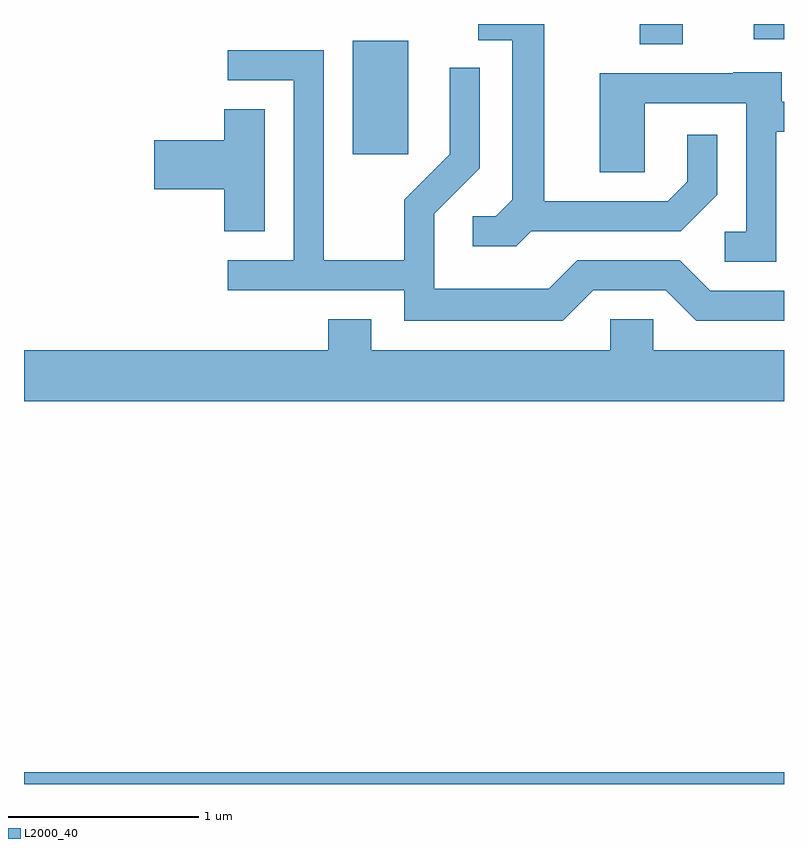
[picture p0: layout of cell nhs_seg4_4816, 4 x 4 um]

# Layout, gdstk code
import gdstk
lib = gdstk.Library(unit=1e-6, precision=1e-09)
def R(c, l, rs):  # rectangles x0, y0, x1, y1
    for r in rs: c.add(gdstk.rectangle(r[:2], r[2:], *l))
def P(c, l, *ps):  # polygons
    for p in ps: c.add(gdstk.Polygon(p, *l))
L2000_40 = (2000, 40)

nhs_seg4_4816 = lib.new_cell('nhs_seg4_4816')
R(nhs_seg4_4816, L2000_40, [(325.611,1365.982,329.611,1366.044), (327.341,1369.296,327.634,1369.894), (328.851,1369.876,329.079,1369.982), (329.453,1369.901,329.611,1369.982)])
P(nhs_seg4_4816, L2000_40, [(328.282,1368.891),(329.067,1368.891),(329.259,1369.084),(329.259,1369.398),(329.101,1369.398),(329.101,1369.152),(328.999,1369.049),(328.349,1369.049),(328.349,1369.982),(328.003,1369.982),(328.003,1369.896),(328.181,1369.896),(328.181,1369.057),(328.094,1368.969),(327.973,1368.969),(327.973,1368.811),(328.202,1368.811)],
  [(328.607,1368.581),(328.989,1368.581),(329.149,1368.421),(329.611,1368.421),(329.611,1368.579),(329.222,1368.579),(329.062,1368.739),(328.524,1368.739),(328.374,1368.589),(327.769,1368.589),(327.769,1368.984),(328.009,1369.224),(328.009,1369.753),(327.851,1369.753),(327.851,1369.297),(327.611,1369.057),(327.611,1368.739),(327.189,1368.739),(327.189,1369.844),(326.683,1369.844),(326.683,1369.686),(327.031,1369.686),(327.031,1368.739),(326.683,1368.739),(326.683,1368.581),(327.611,1368.581),(327.611,1368.421),(328.447,1368.421)],
  [(329.569,1369.416),(329.611,1369.416),(329.611,1369.574),(329.599,1369.574),(329.599,1369.729),(329.345,1369.729),(329.345,1369.724),(328.641,1369.724),(328.641,1369.201),(328.879,1369.201),(328.879,1369.566),(329.411,1369.566),(329.411,1368.889),(329.298,1368.889),(329.298,1368.731),(329.569,1368.731)],
  [(326.879,1369.534),(326.666,1369.534),(326.666,1369.369),(326.296,1369.369),(326.296,1369.111),(326.666,1369.111),(326.666,1368.891),(326.879,1368.891)],
  [(329.611,1368.264),(328.924,1368.264),(328.924,1368.429),(328.696,1368.429),(328.696,1368.264),(327.439,1368.264),(327.439,1368.429),(327.211,1368.429),(327.211,1368.264),(325.611,1368.264),(325.611,1367.996),(329.611,1367.996)])

lib.write_gds('nhs_seg4_4816.gds')
